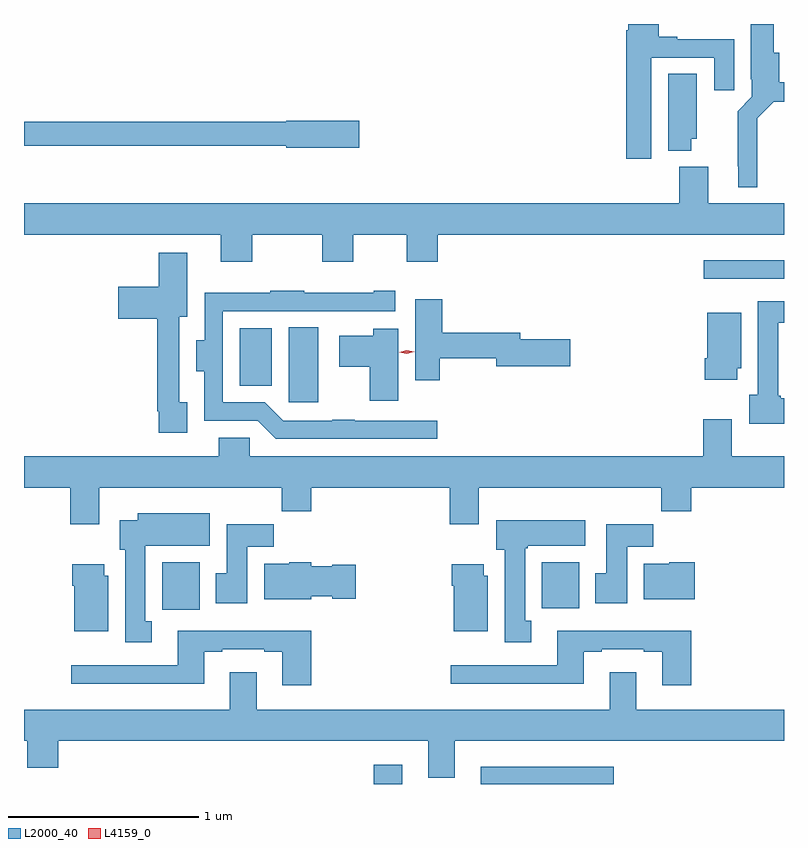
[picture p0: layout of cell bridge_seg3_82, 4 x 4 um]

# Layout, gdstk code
import gdstk
lib = gdstk.Library(unit=1e-6, precision=1e-09)
def R(c, l, rs):  # rectangles x0, y0, x1, y1
    for r in rs: c.add(gdstk.rectangle(r[:2], r[2:], *l))
def P(c, l, *ps):  # polygons
    for p in ps: c.add(gdstk.Polygon(p, *l))
L2000_40 = (2000, 40)
L4159_0 = (4159, 0)

bridge_seg3_82 = lib.new_cell('bridge_seg3_82')
R(bridge_seg3_82, L2000_40, [(422.441,695.36,422.593,695.461), (423.005,695.36,423.706,695.452), (421.329,696.276,421.525,696.526), (423.326,696.284,423.523,696.526), (421.994,697.368,422.149,697.763), (421.736,697.457,421.906,697.759), (424.179,698.019,424.601,698.116)])
P(bridge_seg3_82, L2000_40, [(424.459,698.864),(424.546,698.952),(424.601,698.952),(424.601,699.053),(424.577,699.053),(424.577,699.21),(424.546,699.21),(424.546,699.36),(424.427,699.36),(424.427,699.07),(424.431,699.07),(424.431,698.976),(424.357,698.902),(424.357,698.611),(424.361,698.611),(424.361,698.501),(424.459,698.501)],
  [(423.901,699.183),(424.235,699.183),(424.235,699.012),(424.339,699.012),(424.339,699.279),(424.039,699.279),(424.039,699.292),(423.943,699.292),(423.943,699.36),(423.782,699.36),(423.782,699.326),(423.77,699.326),(423.77,698.652),(423.901,698.652)],
  [(424.114,698.757),(424.141,698.757),(424.141,699.098),(423.992,699.098),(423.992,698.693),(424.114,698.693)],
  [(422.365,698.852),(421.98,698.852),(421.98,698.846),(420.601,698.846),(420.601,698.718),(421.98,698.718),(421.98,698.71),(422.365,698.71)],
  [(421.801,698.252),(422.171,698.252),(422.171,698.109),(422.335,698.109),(422.335,698.252),(422.615,698.252),(422.615,698.109),(422.779,698.109),(422.779,698.252),(424.601,698.252),(424.601,698.416),(424.201,698.416),(424.201,698.608),(424.049,698.608),(424.049,698.416),(420.601,698.416),(420.601,698.252),(421.637,698.252),(421.637,698.109),(421.801,698.109)],
  [(421.459,697.369),(421.419,697.369),(421.419,697.82),(421.459,697.82),(421.459,698.155),(421.31,698.155),(421.31,697.978),(421.098,697.978),(421.098,697.808),(421.303,697.808),(421.303,697.321),(421.311,697.321),(421.311,697.209),(421.459,697.209)],
  [(422.776,697.272),(422.342,697.272),(422.342,697.277),(422.224,697.277),(422.224,697.272),(421.965,697.272),(421.869,697.368),(421.647,697.368),(421.647,697.848),(422.554,697.848),(422.554,697.957),(422.441,697.957),(422.441,697.945),(422.075,697.945),(422.075,697.957),(421.897,697.957),(421.897,697.945),(421.551,697.945),(421.551,697.696),(421.508,697.696),(421.508,697.532),(421.55,697.532),(421.55,697.272),(421.83,697.272),(421.926,697.176),(422.776,697.176)],
  [(422.788,697.6),(423.086,697.6),(423.086,697.558),(423.475,697.558),(423.475,697.7),(423.214,697.7),(423.214,697.736),(422.801,697.736),(422.801,697.912),(422.66,697.912),(422.66,697.485),(422.788,697.485)],
  [(424.601,697.39),(424.584,697.39),(424.584,697.404),(424.57,697.404),(424.57,697.787),(424.601,697.787),(424.601,697.9),(424.463,697.9),(424.463,697.41),(424.418,697.41),(424.418,697.256),(424.601,697.256)],
  [(424.354,697.548),(424.375,697.548),(424.375,697.84),(424.196,697.84),(424.196,697.6),(424.184,697.6),(424.184,697.488),(424.354,697.488)],
  [(422.572,697.756),(422.438,697.756),(422.438,697.72),(422.259,697.72),(422.259,697.556),(422.42,697.556),(422.42,697.376),(422.572,697.376)],
  [(420.997,696.92),(421.957,696.92),(421.957,696.796),(422.114,696.796),(422.114,696.92),(422.843,696.92),(422.843,696.726),(422.995,696.726),(422.995,696.92),(423.955,696.92),(423.955,696.796),(424.112,696.796),(424.112,696.92),(424.601,696.92),(424.601,697.084),(424.327,697.084),(424.327,697.279),(424.175,697.279),(424.175,697.084),(421.788,697.084),(421.788,697.182),(421.625,697.182),(421.625,697.084),(420.601,697.084),(420.601,696.92),(420.845,696.92),(420.845,696.726),(420.997,696.726)],
  [(421.273,696.217),(421.24,696.217),(421.24,696.614),(421.579,696.614),(421.579,696.784),(421.199,696.784),(421.199,696.748),(421.106,696.748),(421.106,696.594),(421.133,696.594),(421.133,696.105),(421.273,696.105)],
  [(423.271,696.218),(423.238,696.218),(423.238,696.601),(423.252,696.601),(423.252,696.614),(423.556,696.614),(423.556,696.748),(423.086,696.748),(423.086,696.594),(423.131,696.594),(423.131,696.105),(423.271,696.105)],
  [(423.775,696.608),(423.914,696.608),(423.914,696.727),(423.665,696.727),(423.665,696.468),(423.608,696.468),(423.608,696.312),(423.775,696.312)],
  [(421.777,696.608),(421.916,696.608),(421.916,696.726),(421.667,696.726),(421.667,696.468),(421.61,696.468),(421.61,696.312),(421.777,696.312)],
  [(422.112,696.347),(422.223,696.347),(422.223,696.335),(422.347,696.335),(422.347,696.513),(422.223,696.513),(422.223,696.505),(422.112,696.505),(422.112,696.526),(421.998,696.526),(421.998,696.52),(421.865,696.52),(421.865,696.332),(422.112,696.332)],
  [(424.132,696.526),(423.996,696.526),(423.996,696.52),(423.863,696.52),(423.863,696.332),(424.132,696.332)],
  [(421.045,696.456),(421.024,696.456),(421.024,696.517),(420.854,696.517),(420.854,696.404),(420.866,696.404),(420.866,696.164),(421.045,696.164)],
  [(423.043,696.456),(423.022,696.456),(423.022,696.517),(422.852,696.517),(422.852,696.404),(422.864,696.404),(422.864,696.164),(423.043,696.164)],
  [(424.112,696.166),(423.407,696.166),(423.407,695.985),(422.847,695.985),(422.847,695.888),(423.547,695.888),(423.547,696.057),(423.643,696.057),(423.643,696.069),(423.863,696.069),(423.863,696.057),(423.959,696.057),(423.959,695.88),(424.112,695.88)],
  [(422.114,696.166),(421.409,696.166),(421.409,695.985),(420.849,695.985),(420.849,695.888),(421.549,695.888),(421.549,696.057),(421.645,696.057),(421.645,696.069),(421.865,696.069),(421.865,696.057),(421.961,696.057),(421.961,695.88),(422.114,695.88)],
  [(422.869,695.588),(424.601,695.588),(424.601,695.752),(423.823,695.752),(423.823,695.947),(423.683,695.947),(423.683,695.752),(421.825,695.752),(421.825,695.947),(421.685,695.947),(421.685,695.752),(420.601,695.752),(420.601,695.588),(420.617,695.588),(420.617,695.445),(420.781,695.445),(420.781,695.588),(422.729,695.588),(422.729,695.394),(422.869,695.394)])
P(bridge_seg3_82, L4159_0, [(422.616,697.624),(422.576,697.633),(422.576,697.633),(422.576,697.633),(422.616,697.644),(422.656,697.634),(422.656,697.634),(422.656,697.634)])

lib.write_gds('bridge_seg3_82.gds')
